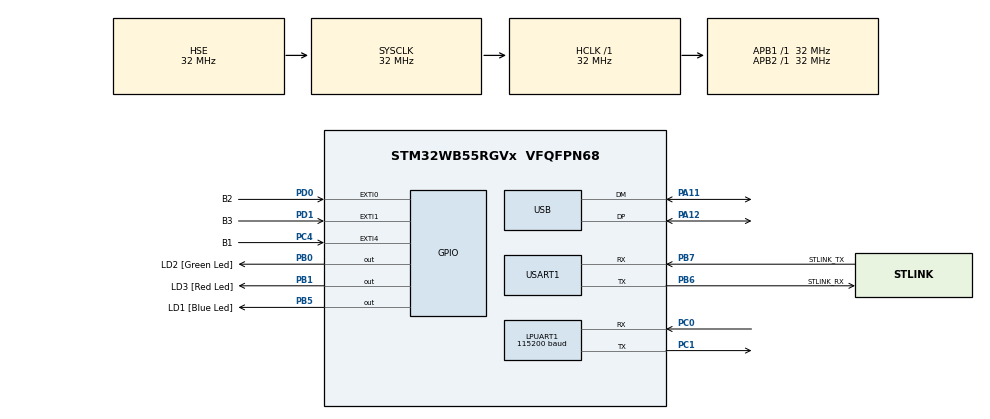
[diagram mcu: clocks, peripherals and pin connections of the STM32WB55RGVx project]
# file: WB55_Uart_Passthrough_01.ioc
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LPUART1.BaudRate=115200
Mcu.Family=STM32WB
Mcu.Name=STM32WB55RGVx
Mcu.Package=VFQFPN68
NVIC.EXTI0_IRQn=true\:0\:0\:false\:false\:true\:true\:true
NVIC.EXTI1_IRQn=true\:0\:0\:false\:false\:true\:true\:true
NVIC.EXTI4_IRQn=true\:0\:0\:false\:false\:true\:true\:true
NVIC.LPUART1_IRQn=true\:0\:0\:false\:false\:true\:true\:true
NVIC.PriorityGroup=NVIC_PRIORITYGROUP_4
NVIC.USART1_IRQn=true\:0\:0\:false\:false\:true\:true\:true
OSC_IN.Mode=HSE-External-Oscillator
OSC_IN.Signal=RCC_OSC_IN
OSC_OUT.Mode=HSE-External-Oscillator
OSC_OUT.Signal=RCC_OSC_OUT
PA11.Mode=Device
PA11.Signal=USB_DM
PA12.Mode=Device
PA12.Signal=USB_DP
PA13.GPIO_Label=JTMS
PA13.Mode=Trace_Asynchronous_SW
PA13.Signal=SYS_JTMS-SWDIO
PA14.GPIO_Label=JTCK
PA14.Mode=Trace_Asynchronous_SW
PA14.Signal=SYS_JTCK-SWCLK
PB0.GPIO_Label=LD2 [Green Led]
PB0.Signal=GPIO_Output
PB1.GPIO_Label=LD3 [Red Led]
PB1.Signal=GPIO_Output
PB3.GPIO_Label=JTDO
PB3.Mode=Trace_Asynchronous_SW
PB3.Signal=SYS_JTDO-SWO
PB5.GPIO_Label=LD1 [Blue Led]
PB5.Signal=GPIO_Output
PB6.GPIO_Label=STLINK_RX
PB6.GPIO_PuPd=GPIO_PULLUP
PB6.Mode=Asynchronous
PB6.Signal=USART1_TX
PB7.GPIO_Label=STLINK_TX
PB7.GPIO_PuPd=GPIO_PULLUP
PB7.Mode=Asynchronous
PB7.Signal=USART1_RX
PC0.Mode=Asynchronous
PC0.Signal=LPUART1_RX
PC1.Mode=Asynchronous
PC1.Signal=LPUART1_TX
PC13.Mode=SYS_WakeUp1
PC13.Signal=SYS_WKUP2
PC14-OSC32_IN.Mode=LSE-External-Oscillator
PC14-OSC32_IN.Signal=RCC_OSC32_IN
PC15-OSC32_OUT.Mode=LSE-External-Oscillator
PC15-OSC32_OUT.Signal=RCC_OSC32_OUT
PC4.GPIO_Label=B1
PC4.GPIO_ModeDefaultEXTI=GPIO_MODE_IT_FALLING
PC4.GPIO_PuPd=GPIO_PULLUP
PC4.Signal=GPXTI4
PD0.GPIO_Label=B2
PD0.GPIO_ModeDefaultEXTI=GPIO_MODE_IT_FALLING
PD0.GPIO_PuPd=GPIO_PULLUP
PD0.Signal=GPXTI0
PD1.GPIO_Label=B3
PD1.GPIO_ModeDefaultEXTI=GPIO_MODE_IT_FALLING
PD1.GPIO_PuPd=GPIO_PULLUP
PD1.Signal=GPXTI1
ProjectManager.HeapSize=0x200
ProjectManager.StackSize=0x400
ProjectManager.TargetToolchain=STM32CubeIDE
RCC.ADCFreq_Value=48000000
RCC.AHBFreq_Value=32000000
RCC.APB1Freq_Value=32000000
RCC.APB1TimFreq_Value=32000000
RCC.APB2Freq_Value=32000000
RCC.APB2TimFreq_Value=32000000
RCC.APB3Freq_Value=16000000
RCC.CortexFreq_Value=32000000
RCC.HCLKFreq_Value=32000000
RCC.HSE_VALUE=32000000
RCC.HSI48_VALUE=48000000
RCC.HSI_VALUE=16000000
RCC.PLLN=32
RCC.PLLSAI1N=24
RCC.SMPSCLockSelectionVirtual=RCC_SMPSCLKSOURCE_HSI
RCC.SMPSCLockSelectionVirtualVirtual=RCC_SMPSCLKSOURCE_HSI
RCC.SMPSDivider=1
RCC.SYSCLKFreq_VALUE=32000000
RCC.SYSCLKSource=RCC_SYSCLKSOURCE_HSE
RCC.USBFreq_Value=48000000
RCC.VCOOutputFreq_Value=128000000
USART1.VirtualMode-Asynchronous=VM_ASYNC
USART1.WordLength=WORDLENGTH_8B
board=P-NUCLEO-WB55-Nucleo

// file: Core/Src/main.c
/* USER CODE BEGIN Header */
/**
  ******************************************************************************
  * @file           : main.c
  * @brief          : Main program body
  ******************************************************************************
  * @attention
  *
  * <h2><center>&copy; Copyright (c) 2021 STMicroelectronics.
  * All rights reserved.</center></h2>
  *
  * This software component is licensed by ST under BSD 3-Clause license,
  * the "License"; You may not use this file except in compliance with the
  * License. You may obtain a copy of the License at:
  *                        opensource.org/licenses/BSD-3-Clause
  *
  ******************************************************************************
  */
/* USER CODE END Header */
#include "main.h"

/* USER CODE BEGIN Includes */
#include "UartRingbuffer_multi.h"
#include <string.h>
/* USER CODE END Includes */

UART_HandleTypeDef hlpuart1;
UART_HandleTypeDef huart1;

PCD_HandleTypeDef hpcd_USB_FS;

/* USER CODE BEGIN PV */
App_TypeDef	app;
/* USER CODE END PV */

void SystemClock_Config(void);
static void MX_GPIO_Init(void);
static void MX_USART1_UART_Init(void);
static void MX_USB_PCD_Init(void);
static void MX_LPUART1_UART_Init(void);
/* USER CODE BEGIN PFP */
/**
  * @brief 	Sends a predefined test string to the device.
  * @param 	None
  * @retval None
  */
static void BG_App_a(void);

/**
  * @brief 	Sends a predefined test string to the device.
  * @param 	None
  * @retval None
  */
static void BG_App_b(void);

/**
  * @brief 	Sends a predefined test string to the device.
  * @param 	None
  * @retval None
  */
static void BG_App_c(void);
/* USER CODE END PFP */

/* USER CODE BEGIN 0 */
#define pc_uart &huart1
#define device_uart &hlpuart1
int test=1;
char buffer[14] = {};
char new_buffer[5] = {};
/* USER CODE END 0 */

int main(void)
{

  /* MCU Configuration--------------------------------------------------------*/

  /* Reset of all peripherals, Initializes the Flash interface and the Systick. */
  HAL_Init();

  /* Configure the system clock */
  SystemClock_Config();

  /* Initialize all configured peripherals */
  MX_GPIO_Init();
  MX_USART1_UART_Init();
  MX_USB_PCD_Init();
  MX_LPUART1_UART_Init();
  /* USER CODE BEGIN 2 */
  Ringbuf_init();
  /* USER CODE END 2 */

  /* Infinite loop */
  /* USER CODE BEGIN WHILE */
  while (1)
  {
	if (IsDataAvailable(pc_uart))
	{
	 int data = Uart_read(pc_uart);
	 Uart_write(data, device_uart);
	}

	if (IsDataAvailable(device_uart))
	{
	 int data = Uart_read(device_uart);
	 Uart_write(data, pc_uart);
	}

	if (app.app1 == Enter) BG_App_a();
	else if (app.app2 == Enter) BG_App_b();
	else if (app.app3 == Enter) BG_App_c();
    /* USER CODE END WHILE */

  }
}

void SystemClock_Config(void)
{
  RCC_OscInitTypeDef RCC_OscInitStruct = {0};
  RCC_ClkInitTypeDef RCC_ClkInitStruct = {0};
  RCC_PeriphCLKInitTypeDef PeriphClkInitStruct = {0};

  /** Macro to configure the PLL multiplication factor
  */
  __HAL_RCC_PLL_PLLM_CONFIG(RCC_PLLM_DIV1);
  /** Macro to configure the PLL clock source
  */
  __HAL_RCC_PLL_PLLSOURCE_CONFIG(RCC_PLLSOURCE_MSI);
  /** Configure LSE Drive Capability
  */
  HAL_PWR_EnableBkUpAccess();
  __HAL_RCC_LSEDRIVE_CONFIG(RCC_LSEDRIVE_LOW);
  /** Configure the main internal regulator output voltage
  */
  __HAL_PWR_VOLTAGESCALING_CONFIG(PWR_REGULATOR_VOLTAGE_SCALE1);
  /** Initializes the RCC Oscillators according to the specified parameters
  * in the RCC_OscInitTypeDef structure.
  */
  RCC_OscInitStruct.OscillatorType = RCC_OSCILLATORTYPE_HSI|RCC_OSCILLATORTYPE_HSE
                              |RCC_OSCILLATORTYPE_LSE|RCC_OSCILLATORTYPE_MSI;
  RCC_OscInitStruct.HSEState = RCC_HSE_ON;
  RCC_OscInitStruct.LSEState = RCC_LSE_ON;
  RCC_OscInitStruct.HSIState = RCC_HSI_ON;
  RCC_OscInitStruct.MSIState = RCC_MSI_ON;
  RCC_OscInitStruct.HSICalibrationValue = RCC_HSICALIBRATION_DEFAULT;
  RCC_OscInitStruct.MSICalibrationValue = RCC_MSICALIBRATION_DEFAULT;
  RCC_OscInitStruct.MSIClockRange = RCC_MSIRANGE_6;
  RCC_OscInitStruct.PLL.PLLState = RCC_PLL_NONE;
  if (HAL_RCC_OscConfig(&RCC_OscInitStruct) != HAL_OK)
  {
    Error_Handler();
  }
  /** Configure the SYSCLKSource, HCLK, PCLK1 and PCLK2 clocks dividers
  */
  RCC_ClkInitStruct.ClockType = RCC_CLOCKTYPE_HCLK4|RCC_CLOCKTYPE_HCLK2
                              |RCC_CLOCKTYPE_HCLK|RCC_CLOCKTYPE_SYSCLK
                              |RCC_CLOCKTYPE_PCLK1|RCC_CLOCKTYPE_PCLK2;
  RCC_ClkInitStruct.SYSCLKSource = RCC_SYSCLKSOURCE_HSE;
  RCC_ClkInitStruct.AHBCLKDivider = RCC_SYSCLK_DIV1;
  RCC_ClkInitStruct.APB1CLKDivider = RCC_HCLK_DIV1;
  RCC_ClkInitStruct.APB2CLKDivider = RCC_HCLK_DIV1;
  RCC_ClkInitStruct.AHBCLK2Divider = RCC_SYSCLK_DIV1;
  RCC_ClkInitStruct.AHBCLK4Divider = RCC_SYSCLK_DIV1;

  if (HAL_RCC_ClockConfig(&RCC_ClkInitStruct, FLASH_LATENCY_1) != HAL_OK)
  {
    Error_Handler();
  }
  /** Initializes the peripherals clocks
  */
  PeriphClkInitStruct.PeriphClockSelection = RCC_PERIPHCLK_SMPS|RCC_PERIPHCLK_USART1
                              |RCC_PERIPHCLK_LPUART1|RCC_PERIPHCLK_USB;
  PeriphClkInitStruct.PLLSAI1.PLLN = 24;
  PeriphClkInitStruct.PLLSAI1.PLLP = RCC_PLLP_DIV2;
  PeriphClkInitStruct.PLLSAI1.PLLQ = RCC_PLLQ_DIV2;
  PeriphClkInitStruct.PLLSAI1.PLLR = RCC_PLLR_DIV2;
  PeriphClkInitStruct.PLLSAI1.PLLSAI1ClockOut = RCC_PLLSAI1_USBCLK;
  PeriphClkInitStruct.Usart1ClockSelection = RCC_USART1CLKSOURCE_PCLK2;
  PeriphClkInitStruct.Lpuart1ClockSelection = RCC_LPUART1CLKSOURCE_PCLK1;
  PeriphClkInitStruct.UsbClockSelection = RCC_USBCLKSOURCE_PLLSAI1;
  PeriphClkInitStruct.SmpsClockSelection = RCC_SMPSCLKSOURCE_HSI;
  PeriphClkInitStruct.SmpsDivSelection = RCC_SMPSCLKDIV_RANGE0;
  if (HAL_RCCEx_PeriphCLKConfig(&PeriphClkInitStruct) != HAL_OK)
  {
    Error_Handler();
  }
  /** Enable MSI Auto calibration
  */
  HAL_RCCEx_EnableMSIPLLMode();
}

static void MX_LPUART1_UART_Init(void)
{

  hlpuart1.Instance = LPUART1;
  hlpuart1.Init.BaudRate = 115200;
  hlpuart1.Init.WordLength = UART_WORDLENGTH_8B;
  hlpuart1.Init.StopBits = UART_STOPBITS_1;
  hlpuart1.Init.Parity = UART_PARITY_NONE;
  hlpuart1.Init.Mode = UART_MODE_TX_RX;
  hlpuart1.Init.HwFlowCtl = UART_HWCONTROL_NONE;
  hlpuart1.Init.OneBitSampling = UART_ONE_BIT_SAMPLE_DISABLE;
  hlpuart1.Init.ClockPrescaler = UART_PRESCALER_DIV1;
  hlpuart1.AdvancedInit.AdvFeatureInit = UART_ADVFEATURE_NO_INIT;
  hlpuart1.FifoMode = UART_FIFOMODE_DISABLE;
  if (HAL_UART_Init(&hlpuart1) != HAL_OK)
  {
    Error_Handler();
  }
  if (HAL_UARTEx_SetTxFifoThreshold(&hlpuart1, UART_TXFIFO_THRESHOLD_1_8) != HAL_OK)
  {
    Error_Handler();
  }
  if (HAL_UARTEx_SetRxFifoThreshold(&hlpuart1, UART_RXFIFO_THRESHOLD_1_8) != HAL_OK)
  {
    Error_Handler();
  }
  if (HAL_UARTEx_DisableFifoMode(&hlpuart1) != HAL_OK)
  {
    Error_Handler();
  }

}

static void MX_USART1_UART_Init(void)
{

  huart1.Instance = USART1;
  huart1.Init.BaudRate = 115200;
  huart1.Init.WordLength = UART_WORDLENGTH_8B;
  huart1.Init.StopBits = UART_STOPBITS_1;
  huart1.Init.Parity = UART_PARITY_NONE;
  huart1.Init.Mode = UART_MODE_TX_RX;
  huart1.Init.HwFlowCtl = UART_HWCONTROL_NONE;
  huart1.Init.OverSampling = UART_OVERSAMPLING_16;
  huart1.Init.OneBitSampling = UART_ONE_BIT_SAMPLE_DISABLE;
  huart1.Init.ClockPrescaler = UART_PRESCALER_DIV1;
  huart1.AdvancedInit.AdvFeatureInit = UART_ADVFEATURE_NO_INIT;
  if (HAL_UART_Init(&huart1) != HAL_OK)
  {
    Error_Handler();
  }
  if (HAL_UARTEx_SetTxFifoThreshold(&huart1, UART_TXFIFO_THRESHOLD_1_8) != HAL_OK)
  {
    Error_Handler();
  }
  if (HAL_UARTEx_SetRxFifoThreshold(&huart1, UART_RXFIFO_THRESHOLD_1_8) != HAL_OK)
  {
    Error_Handler();
  }
  if (HAL_UARTEx_DisableFifoMode(&huart1) != HAL_OK)
  {
    Error_Handler();
  }

}

static void MX_USB_PCD_Init(void)
{

  hpcd_USB_FS.Instance = USB;
  hpcd_USB_FS.Init.dev_endpoints = 8;
  hpcd_USB_FS.Init.speed = PCD_SPEED_FULL;
  hpcd_USB_FS.Init.phy_itface = PCD_PHY_EMBEDDED;
  hpcd_USB_FS.Init.Sof_enable = DISABLE;
  hpcd_USB_FS.Init.low_power_enable = DISABLE;
  hpcd_USB_FS.Init.lpm_enable = DISABLE;
  hpcd_USB_FS.Init.battery_charging_enable = DISABLE;
  if (HAL_PCD_Init(&hpcd_USB_FS) != HAL_OK)
  {
    Error_Handler();
  }

}

static void MX_GPIO_Init(void)
{
  GPIO_InitTypeDef GPIO_InitStruct = {0};

  /* GPIO Ports Clock Enable */
  __HAL_RCC_GPIOC_CLK_ENABLE();
  __HAL_RCC_GPIOB_CLK_ENABLE();
  __HAL_RCC_GPIOA_CLK_ENABLE();
  __HAL_RCC_GPIOD_CLK_ENABLE();

  /*Configure GPIO pin Output Level */
  HAL_GPIO_WritePin(GPIOB, LD2_Pin|LD3_Pin|LD1_Pin, GPIO_PIN_RESET);

  /*Configure GPIO pin : B1_Pin */
  GPIO_InitStruct.Pin = B1_Pin;
  GPIO_InitStruct.Mode = GPIO_MODE_IT_FALLING;
  GPIO_InitStruct.Pull = GPIO_PULLUP;
  HAL_GPIO_Init(B1_GPIO_Port, &GPIO_InitStruct);

  /*Configure GPIO pins : LD2_Pin LD3_Pin LD1_Pin */
  GPIO_InitStruct.Pin = LD2_Pin|LD3_Pin|LD1_Pin;
  GPIO_InitStruct.Mode = GPIO_MODE_OUTPUT_PP;
  GPIO_InitStruct.Pull = GPIO_NOPULL;
  GPIO_InitStruct.Speed = GPIO_SPEED_FREQ_LOW;
  HAL_GPIO_Init(GPIOB, &GPIO_InitStruct);

  /*Configure GPIO pins : B2_Pin B3_Pin */
  GPIO_InitStruct.Pin = B2_Pin|B3_Pin;
  GPIO_InitStruct.Mode = GPIO_MODE_IT_FALLING;
  GPIO_InitStruct.Pull = GPIO_PULLUP;
  HAL_GPIO_Init(GPIOD, &GPIO_InitStruct);

  /* EXTI interrupt init*/
  HAL_NVIC_SetPriority(EXTI0_IRQn, 0, 0);
  HAL_NVIC_EnableIRQ(EXTI0_IRQn);

  HAL_NVIC_SetPriority(EXTI1_IRQn, 0, 0);
  HAL_NVIC_EnableIRQ(EXTI1_IRQn);

  HAL_NVIC_SetPriority(EXTI4_IRQn, 0, 0);
  HAL_NVIC_EnableIRQ(EXTI4_IRQn);

}

/* USER CODE BEGIN 4 */
void HAL_GPIO_EXTI_Callback(uint16_t GPIO_Pin)
{
	if (GPIO_Pin == B3_Pin)
	{
		HAL_GPIO_TogglePin(LD3_GPIO_Port, LD3_Pin);
		if (!(app.app3 == Ongoing)) app.app3 = Enter;
	}
	else if (GPIO_Pin == B2_Pin)
	{
		HAL_GPIO_TogglePin(LD2_GPIO_Port, LD2_Pin);
		if (!(app.app2 == Ongoing)) app.app2 = Enter;
	}
	else if (GPIO_Pin == B1_Pin)
	{
		HAL_GPIO_TogglePin(LD1_GPIO_Port, LD1_Pin);
		if (!(app.app1 == Ongoing)) app.app1 = Enter;
	}

		//Test Codes Here:

/*
		while (!IsDataAvailable(device_uart))
		  {
			  if (Get_after("Revision: ", 14, buffer, device_uart))
			  {
				  Uart_sendstring("AT VERSION=", pc_uart);
				  Uart_sendstring(buffer, pc_uart);
			  }
		  }
		//Uart_sendstring("AT+CIMI\r\n", device_uart);
*/
}

static void BG_App_a(void)
{
	app.app1 = Ongoing;
	Uart_sendstring("AT+CSQ\r\n", device_uart);
	app.app1 = Finished;
}
static void BG_App_b(void)
{
	app.app2 = Ongoing;
	//Uart_sendstring("\x0d\x0a", device_uart);
	Uart_sendstring("ATI\r\n", device_uart);
	//memset(buffer, '\0', 5);
	if(Get_after("Revision: ", 5, buffer, device_uart)) /*!< Odd behavior observed here. Its not limited by the number of chars.  */
	{
		Uart_sendstring("Test: ", pc_uart);
		Uart_sendstring(buffer, pc_uart);
	}
	app.app2 = Finished;
}
static void BG_App_c(void)
{
	app.app3 = Ongoing;
	Uart_sendstring("A/", device_uart);
	app.app3 = Finished;
}

/* USER CODE END 4 */

void Error_Handler(void)
{
  __disable_irq();
  while (1)
  {
  }
}

/************************ (C) COPYRIGHT STMicroelectronics *****END OF FILE****/
